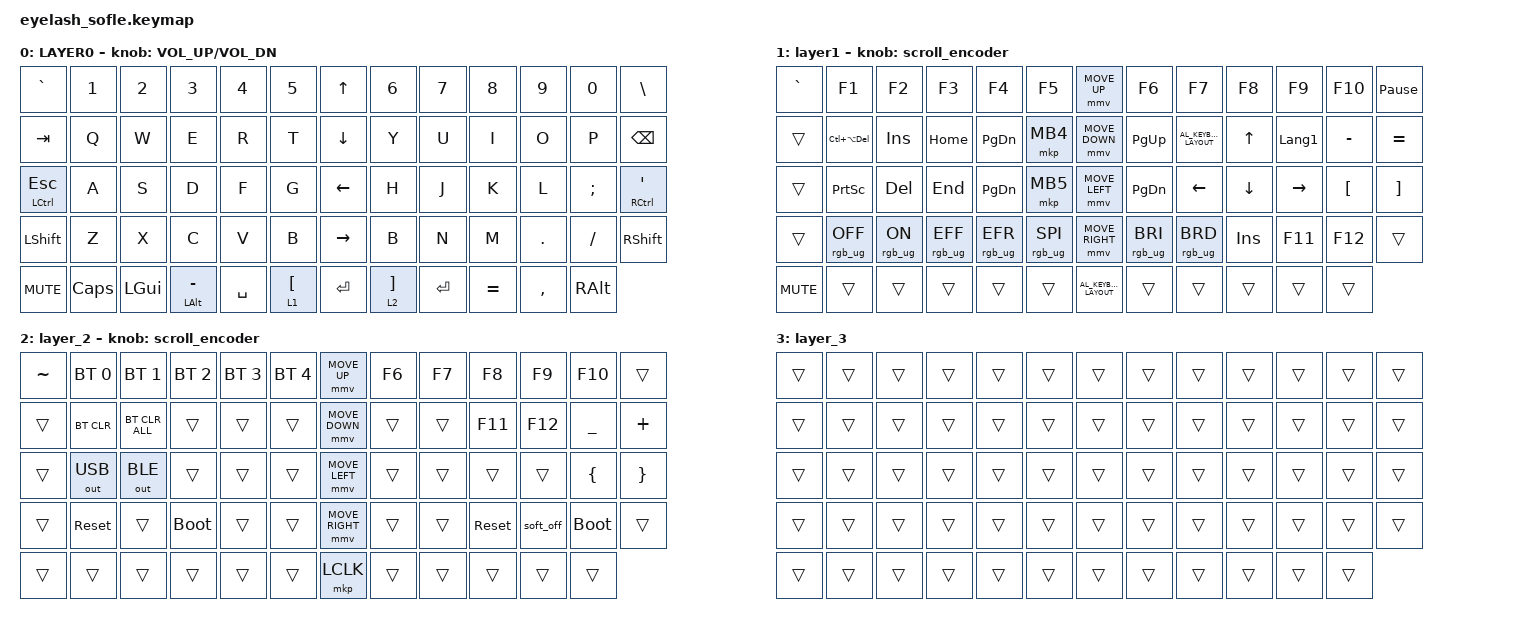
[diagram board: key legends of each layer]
#define ZMK_POINTING_DEFAULT_MOVE_VAL 1200  // 600
#define ZMK_POINTING_DEFAULT_SCRL_VAL 25   // 10

#include <input/processors.dtsi>
#include <zephyr/dt-bindings/input/input-event-codes.h>
#include <behaviors.dtsi>
#include <dt-bindings/zmk/bt.h>
#include <dt-bindings/zmk/keys.h>
#include <dt-bindings/zmk/outputs.h>
#include <dt-bindings/zmk/pointing.h>
#include <dt-bindings/zmk/rgb.h>

&mmv_input_listener { input-processors = <&zip_xy_scaler 2 1>; };

&msc_input_listener { input-processors = <&zip_scroll_scaler 2 1>; };

&msc {
    acceleration-exponent = <1>;      // 0
    time-to-max-speed-ms = <100>;       // 300
    delay-ms = <0>;                   // 0
};

&mmv {
    time-to-max-speed-ms = <500>;
    acceleration-exponent = <1>;
    trigger-period-ms = <16>;
};

/ {
    scroll_encoder: scroll_encoder {
        compatible = "zmk,behavior-sensor-rotate";
        #sensor-binding-cells = <0>;
        bindings = <&msc SCRL_DOWN>, <&msc SCRL_UP>;

        tap-ms = <100>;
    };

    behaviors {
    };

    keymap {
        compatible = "zmk,keymap";

        layer0 {
            bindings = <
&kp GRAVE             &kp N1        &kp N2        &kp N3              &kp N4     &kp N5                &kp UP_ARROW     &kp N6               &kp N7     &kp N8     &kp N9     &kp N0         &kp BACKSLASH
&kp TAB               &kp Q         &kp W         &kp E               &kp R      &kp T                 &kp DOWN_ARROW   &kp Y                &kp U      &kp I      &kp O      &kp P          &kp BACKSPACE
&mt LEFT_CONTROL ESC  &kp A         &kp S         &kp D               &kp F      &kp G                 &kp LEFT_ARROW   &kp H                &kp J      &kp K      &kp L      &kp SEMI       &mt RCTRL APOSTROPHE
&kp LSHFT             &kp Z         &kp X         &kp C               &kp V      &kp B                 &kp RIGHT_ARROW  &kp B                &kp N      &kp M      &kp DOT    &kp FSLH       &kp RIGHT_SHIFT
&kp C_MUTE            &kp CAPSLOCK  &kp LEFT_GUI  &mt LEFT_ALT MINUS  &kp SPACE  &lt 1 LEFT_BRACKET    &kp ENTER        &lt 2 RIGHT_BRACKET  &kp ENTER  &kp EQUAL  &kp COMMA  &kp RIGHT_ALT
            >;

            sensor-bindings = <&inc_dec_kp C_VOLUME_UP C_VOL_DN>;
            display-name = "LAYER0";
        };

        layer_1 {
            bindings = <
&kp GRAVE   &kp F1              &kp F2          &kp F3           &kp F4           &kp F5             &mmv MOVE_UP              &kp F6           &kp F7                    &kp F8      &kp F9          &kp F10           &kp PAUSE_BREAK
&trans      &kp LC(LA(DELETE))  &kp INSERT      &kp HOME         &kp PAGE_DOWN    &mkp MB4           &mmv MOVE_DOWN            &kp PG_UP        &kp C_AL_KEYBOARD_LAYOUT  &kp UP      &kp LANGUAGE_1  &kp MINUS         &kp EQUAL
&trans      &kp PRINTSCREEN     &kp DEL         &kp END          &kp PAGE_DOWN    &mkp MB5           &mmv MOVE_LEFT            &kp PG_DN        &kp LEFT                  &kp DOWN    &kp RIGHT       &kp LEFT_BRACKET  &kp RIGHT_BRACKET
&trans      &rgb_ug RGB_OFF     &rgb_ug RGB_ON  &rgb_ug RGB_EFF  &rgb_ug RGB_EFR  &rgb_ug RGB_SPI    &mmv MOVE_RIGHT           &rgb_ug RGB_BRI  &rgb_ug RGB_BRD           &kp INSERT  &kp F11         &kp F12           &trans
&kp C_MUTE  &trans              &trans          &trans           &trans           &trans             &kp C_AL_KEYBOARD_LAYOUT  &trans           &trans                    &trans      &trans          &trans
            >;

            display-name = "layer1";
            sensor-bindings = <&scroll_encoder>;
        };

        layer_2 {
            bindings = <
&kp TILDE  &bt BT_SEL 0  &bt BT_SEL 1    &bt BT_SEL 2  &bt BT_SEL 3  &bt BT_SEL 4    &mmv MOVE_UP     &kp F6  &kp F7  &kp F8      &kp F9     &kp F10      &trans
&trans     &bt BT_CLR    &bt BT_CLR_ALL  &trans        &trans        &trans          &mmv MOVE_DOWN   &trans  &trans  &kp F11     &kp F12    &kp UNDER    &kp PLUS
&trans     &out OUT_USB  &out OUT_BLE    &trans        &trans        &trans          &mmv MOVE_LEFT   &trans  &trans  &trans      &trans     &kp LBRC     &kp RBRC
&trans     &sys_reset    &trans          &bootloader   &trans        &trans          &mmv MOVE_RIGHT  &trans  &trans  &sys_reset  &soft_off  &bootloader  &trans
&trans     &trans        &trans          &trans        &trans        &trans          &mkp LCLK        &trans  &trans  &trans      &trans     &trans
            >;

            sensor-bindings = <&scroll_encoder>;
        };

        layer_3 {
            bindings = <
&trans  &trans  &trans  &trans  &trans  &trans    &trans  &trans  &trans  &trans  &trans  &trans  &trans
&trans  &trans  &trans  &trans  &trans  &trans    &trans  &trans  &trans  &trans  &trans  &trans  &trans
&trans  &trans  &trans  &trans  &trans  &trans    &trans  &trans  &trans  &trans  &trans  &trans  &trans
&trans  &trans  &trans  &trans  &trans  &trans    &trans  &trans  &trans  &trans  &trans  &trans  &trans
&trans  &trans  &trans  &trans  &trans  &trans    &trans  &trans  &trans  &trans  &trans  &trans
            >;
        };
    };
};
